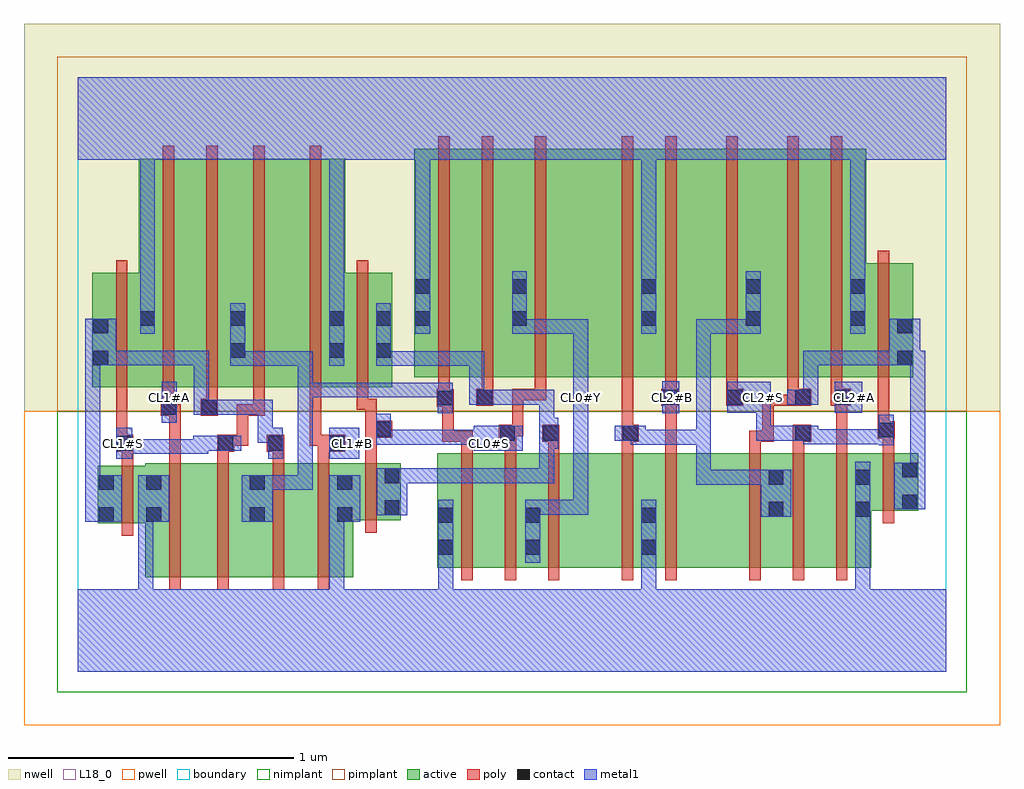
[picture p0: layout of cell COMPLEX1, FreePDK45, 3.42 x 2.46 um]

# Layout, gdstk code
import gdstk
lib = gdstk.Library(unit=1e-6, precision=1e-09)
def R(c, l, rs):  # rectangles x0, y0, x1, y1
    for r in rs: c.add(gdstk.rectangle(r[:2], r[2:], *l))
def A(c, l, x, y, w, h, nx, ny, dx, dy):  # array of equal rectangles
    R(c, l, [(x+i*dx, y+j*dy, x+i*dx+w, y+j*dy+h) for i in range(nx) for j in range(ny)])
active = (1, 0)
pwell = (2, 0)
nwell = (3, 0)
nimplant = (4, 0)
pimplant = (5, 0)
poly = (9, 0)
contact = (10, 0)
metal1 = (11, 0)
L18_0 = (18, 0)
boundary = (235, 0)

complex1 = lib.new_cell('COMPLEX1')
R(complex1, active, [(0.236,0.33,0.416,0.73), (0.236,0.33,0.296,0.692), (0.416,0.33,0.658,0.73), (0.598,0.33,0.778,0.73), (0.778,0.33,0.964,0.73), (0.904,0.33,0.964,0.692), (1.258,0.364,1.438,0.764), (1.258,0.364,1.318,0.764), (1.438,0.364,1.622,0.764), (1.562,0.364,1.742,0.764), (1.562,0.364,1.622,0.578), (1.742,0.364,2.028,0.764), (1.968,0.364,2.294,0.764), (1.968,0.364,2.028,0.578), (2.294,0.364,2.474,0.764), (2.414,0.364,2.474,0.71), (2.414,0.364,2.598,0.764), (2.598,0.364,2.778,0.764), (2.718,0.364,2.778,0.71), (0.598,0.468,0.658,0.692), (0.07,0.52,0.13,0.72), (0.07,0.52,0.296,0.72), (0.904,0.53,1.13,0.73), (1.07,0.53,1.13,0.73), (2.718,0.564,2.942,0.764), (2.882,0.564,2.942,0.764), (0.05,0.996,0.274,1.396), (0.05,0.996,0.11,1.356), (0.214,0.996,0.394,1.796), (0.214,0.996,0.274,1.356), (0.394,0.996,0.59,1.796), (0.53,0.996,0.71,1.796), (0.53,0.996,0.59,1.724), (0.71,0.996,0.936,1.796), (0.876,0.996,1.1,1.396), (0.876,0.996,0.936,1.356), (1.04,0.996,1.1,1.356), (1.178,1.03,1.358,1.83), (1.178,1.03,1.238,1.756), (1.358,1.03,1.576,1.83), (1.516,1.03,1.576,1.724), (1.516,1.03,1.848,1.83), (1.848,1.03,2.028,1.83), (1.968,1.03,2.152,1.83), (2.152,1.03,2.394,1.83), (2.334,1.03,2.58,1.83), (2.334,1.03,2.394,1.724), (2.58,1.03,2.76,1.83), (2.7,1.03,2.924,1.43), (2.7,1.03,2.76,1.378), (2.864,1.03,2.924,1.356), (1.968,1.206,2.028,1.756)])
R(complex1, pwell, [(-0.188,-0.188,3.228,0.912)])
R(complex1, nwell, [(-0.188,0.912,3.228,2.268)])
R(complex1, nimplant, [(-0.072,-0.072,3.112,0.912)])
R(complex1, pimplant, [(-0.072,0.912,3.112,2.152)])
A(complex1, poly, 1.342, 0.32, 0.04, 0.488, 3, 1, 0.152, 0)
A(complex1, poly, 2.35, 0.32, 0.04, 0.488, 3, 1, 0.152, 0)
A(complex1, poly, 1.342, 0.768, 0.04, 0.076, 3, 1, 0.152, 0)
A(complex1, poly, 2.056, 0.95, 0.04, 0.076, 3, 1, 0.214, 0)
A(complex1, poly, 2.056, 0.986, 0.04, 0.888, 3, 1, 0.214, 0)
R(complex1, poly, [(0.32,0.286,0.36,0.774), (0.488,0.286,0.528,0.774), (0.682,0.286,0.722,0.774), (0.84,0.286,0.88,0.774), (1.904,0.32,1.944,0.808), (2.056,0.32,2.096,0.808), (0.154,0.476,0.194,0.764), (1.006,0.486,1.046,0.774), (2.818,0.52,2.858,0.808), (0.154,0.724,0.194,0.81), (0.32,0.734,0.36,0.936), (0.488,0.734,0.528,0.81), (0.682,0.734,0.722,0.81), (0.84,0.734,0.88,0.81), (1.006,0.734,1.046,0.858), (1.904,0.768,1.944,0.844), (2.056,0.768,2.096,0.97), (2.35,0.768,2.39,0.844), (2.502,0.768,2.542,0.844), (2.654,0.768,2.694,0.97), (2.818,0.768,2.858,0.856), (0.134,0.77,0.194,0.83), (0.488,0.77,0.548,0.83), (0.662,0.77,0.722,0.83), (0.84,0.77,0.936,0.83), (0.134,0.79,0.174,0.83), (0.134,0.79,0.174,0.83), (0.134,0.79,0.174,0.992), (0.508,0.79,0.596,0.83), (0.556,0.79,0.596,0.83), (0.556,0.79,0.596,0.936), (0.812,0.79,0.852,0.992), (0.812,0.79,0.88,0.83), (0.84,0.79,0.88,0.83), (1.276,0.804,1.316,0.968), (1.276,0.804,1.382,0.844), (1.474,0.804,1.534,0.864), (1.626,0.804,1.686,0.864), (1.904,0.804,1.964,0.864), (2.35,0.804,2.39,0.844), (2.35,0.804,2.436,0.844), (2.396,0.804,2.436,0.844), (2.396,0.804,2.436,0.97), (2.502,0.804,2.568,0.864), (2.8,0.816,2.86,0.876), (1.006,0.818,1.1,0.878), (1.494,0.824,1.56,0.864), (1.52,0.824,1.56,0.864), (1.52,0.824,1.56,0.99), (1.904,0.824,1.944,0.864), (1.904,0.824,1.944,0.864), (1.904,0.824,1.944,1.026), (2.8,0.836,2.84,1.026), (2.8,0.836,2.84,0.876), (2.8,0.836,2.84,0.876), (1.006,0.838,1.046,0.956), (0.29,0.896,0.35,0.956), (0.31,0.896,0.35,0.936), (0.31,0.896,0.36,0.936), (0.43,0.896,0.49,0.956), (0.556,0.896,0.596,0.936), (0.556,0.896,0.654,0.936), (0.614,0.896,0.654,0.936), (0.614,0.896,0.654,0.992), (0.298,0.916,0.338,0.992), (0.45,0.916,0.49,0.992), (0.976,0.916,1.016,0.992), (0.976,0.916,1.046,0.956), (1.256,0.928,1.316,0.988), (1.394,0.93,1.454,0.99), (2.042,0.93,2.102,0.99), (2.056,0.93,2.096,0.97), (2.056,0.93,2.096,0.97), (2.27,0.93,2.33,0.99), (2.396,0.93,2.436,0.97), (2.396,0.93,2.524,0.97), (2.484,0.93,2.568,0.99), (2.636,0.93,2.706,0.99), (2.654,0.93,2.694,0.97), (2.654,0.93,2.694,0.97), (1.262,0.948,1.302,1.026), (1.414,0.95,1.454,1.026), (1.52,0.95,1.56,0.99), (1.52,0.95,1.64,0.99), (1.6,0.95,1.64,0.99), (1.6,0.95,1.64,0.99), (1.6,0.95,1.64,1.874), (2.636,0.95,2.676,1.026), (0.134,0.952,0.174,1.44), (0.298,0.952,0.338,1.84), (0.45,0.952,0.49,1.84), (0.614,0.952,0.654,1.84), (0.812,0.952,0.852,1.84), (0.976,0.952,1.016,1.44), (1.262,0.986,1.302,1.874), (1.414,0.986,1.454,1.874), (1.904,0.986,1.944,1.874), (2.636,0.986,2.676,1.874), (2.8,0.986,2.84,1.474)])
A(complex1, contact, 1.972, 1.21, 0.052, 0.052, 3, 2, 0.366, 0.112)
R(complex1, contact, [(1.262,0.41,1.314,0.462), (1.566,0.41,1.618,0.462), (1.972,0.41,2.024,0.462), (1.262,0.522,1.314,0.574), (1.566,0.522,1.618,0.574), (1.972,0.522,2.024,0.574), (0.074,0.524,0.126,0.576), (0.24,0.524,0.292,0.576), (0.602,0.524,0.654,0.576), (0.908,0.524,0.96,0.576), (2.418,0.542,2.47,0.594), (2.722,0.542,2.774,0.594), (1.074,0.548,1.126,0.6), (2.886,0.568,2.938,0.62), (0.074,0.636,0.126,0.688), (0.24,0.636,0.292,0.688), (0.602,0.636,0.654,0.688), (0.908,0.636,0.96,0.688), (2.418,0.654,2.47,0.706), (2.722,0.654,2.774,0.706), (1.074,0.66,1.126,0.712), (2.886,0.68,2.938,0.732), (0.138,0.774,0.19,0.826), (0.492,0.774,0.544,0.826), (0.666,0.774,0.718,0.826), (0.88,0.774,0.932,0.826), (1.478,0.808,1.53,0.86), (1.63,0.808,1.682,0.86), (1.908,0.808,1.96,0.86), (2.512,0.808,2.564,0.86), (2.804,0.82,2.856,0.872), (1.044,0.822,1.096,0.874), (0.294,0.9,0.346,0.952), (0.434,0.9,0.486,0.952), (1.26,0.932,1.312,0.984), (1.398,0.934,1.45,0.986), (2.046,0.934,2.098,0.986), (2.274,0.934,2.326,0.986), (2.512,0.934,2.564,0.986), (2.65,0.934,2.702,0.986), (0.054,1.072,0.106,1.124), (2.868,1.072,2.92,1.124), (0.534,1.098,0.586,1.15), (0.88,1.098,0.932,1.15), (1.044,1.098,1.096,1.15), (0.054,1.184,0.106,1.236), (2.868,1.184,2.92,1.236), (0.218,1.21,0.27,1.262), (0.534,1.21,0.586,1.262), (0.88,1.21,0.932,1.262), (1.044,1.21,1.096,1.262), (1.182,1.21,1.234,1.262), (1.52,1.21,1.572,1.262), (1.182,1.322,1.234,1.374), (1.52,1.322,1.572,1.374)])
A(complex1, metal1, 1.972, 1.182, 0.052, 0.22, 3, 1, 0.366, 0)
R(complex1, metal1, [(0,0,3.04,0.288), (0.212,0.236,0.264,0.288), (0.212,0.236,0.264,0.288), (0.212,0.236,0.264,0.576), (0.88,0.236,0.932,0.576), (1.262,0.236,1.314,0.434), (1.972,0.236,2.024,0.434), (2.722,0.236,2.774,0.566), (1.262,0.382,1.314,0.434), (1.262,0.382,1.314,0.434), (1.262,0.382,1.314,0.602), (1.566,0.382,1.618,0.602), (1.972,0.382,2.024,0.434), (1.972,0.382,2.024,0.434), (1.972,0.382,2.024,0.602), (2.722,0.514,2.774,0.566), (2.722,0.514,2.774,0.566), (2.722,0.514,2.774,0.734), (0.026,0.524,0.154,0.688), (0.212,0.524,0.32,0.688), (0.574,0.524,0.682,0.688), (0.88,0.524,0.932,0.576), (0.88,0.524,0.932,0.576), (0.88,0.524,0.988,0.688), (2.39,0.542,2.498,0.706), (1.046,0.548,1.154,0.712), (1.566,0.55,1.786,0.602), (1.734,0.55,1.786,0.602), (1.734,0.55,1.786,0.602), (1.734,0.55,1.786,0.602), (1.734,0.55,1.786,0.602), (1.734,0.55,1.786,0.602), (1.734,0.55,1.786,0.958), (2.858,0.568,2.966,0.732), (0.026,0.636,0.078,0.688), (0.026,0.636,0.078,0.688), (0.026,0.636,0.078,1.124), (0.63,0.636,0.682,0.688), (0.63,0.636,0.682,0.688), (0.63,0.636,0.822,0.688), (0.77,0.636,0.822,0.688), (0.77,0.636,0.822,1.012), (2.164,0.654,2.216,0.706), (2.164,0.654,2.216,0.706), (2.164,0.654,2.216,0.706), (2.164,0.654,2.442,0.706), (2.164,0.654,2.216,0.846), (1.102,0.66,1.264,0.712), (1.212,0.66,1.264,0.712), (1.212,0.66,1.264,0.712), (1.212,0.66,1.264,0.712), (1.212,0.66,1.422,0.712), (1.37,0.66,1.422,0.712), (1.37,0.66,1.422,0.712), (1.37,0.66,1.422,0.712), (1.37,0.66,1.668,0.712), (1.616,0.66,1.668,0.712), (1.616,0.66,1.668,0.832), (2.914,0.68,2.966,1.124), (0.134,0.746,0.19,0.854), (0.666,0.746,0.718,0.854), (0.88,0.746,0.986,0.854), (0.138,0.762,0.3,0.814), (0.248,0.762,0.3,0.814), (0.248,0.762,0.3,0.814), (0.248,0.762,0.3,0.814), (0.248,0.762,0.456,0.814), (0.404,0.762,0.456,0.826), (0.404,0.774,0.516,0.826), (0.464,0.774,0.572,0.826), (1.386,0.774,1.558,0.86), (1.616,0.78,1.668,0.832), (1.616,0.78,1.682,0.832), (1.616,0.78,1.668,0.986), (1.63,0.78,1.682,0.888), (2.804,0.792,2.856,0.9), (1.044,0.794,1.096,0.846), (1.044,0.794,1.096,0.846), (1.044,0.794,1.096,0.902), (1.044,0.794,1.312,0.846), (1.26,0.794,1.312,0.846), (1.26,0.794,1.312,0.846), (1.26,0.794,1.312,0.846), (1.26,0.794,1.438,0.846), (1.386,0.794,1.438,0.846), (1.386,0.794,1.438,0.846), (1.936,0.794,2.106,0.846), (1.936,0.794,1.988,0.86), (2.054,0.794,2.106,0.846), (2.054,0.794,2.216,0.846), (2.164,0.794,2.216,0.846), (2.164,0.794,2.216,1.234), (2.54,0.796,2.702,0.848), (2.54,0.796,2.592,0.86), (2.65,0.796,2.702,0.848), (2.65,0.796,2.702,0.848), (2.65,0.796,2.702,0.848), (2.65,0.796,2.856,0.848), (0.63,0.802,0.682,0.854), (0.63,0.802,0.682,0.952), (0.63,0.802,0.718,0.854), (1.88,0.808,1.988,0.86), (1.936,0.808,1.988,0.86), (2.374,0.808,2.426,0.86), (2.374,0.808,2.536,0.86), (2.374,0.808,2.426,0.958), (2.484,0.808,2.592,0.86), (2.54,0.808,2.592,0.86), (0.294,0.872,0.346,1.014), (0.406,0.9,0.458,0.952), (0.406,0.9,0.458,0.952), (0.406,0.9,0.514,0.952), (0.406,0.9,0.458,1.124), (0.462,0.9,0.682,0.952), (0.63,0.9,0.682,0.952), (1.26,0.904,1.312,1.012), (2.046,0.904,2.106,1.016), (1.734,0.906,1.786,1.014), (2.274,0.906,2.426,1.014), (2.374,0.906,2.426,0.958), (2.374,0.906,2.426,0.958), (2.65,0.906,2.746,1.014), (1.37,0.934,1.422,0.986), (1.37,0.934,1.422,0.986), (1.37,0.934,1.478,0.986), (1.37,0.934,1.422,1.122), (1.426,0.934,1.668,0.986), (1.616,0.934,1.668,0.986), (2.484,0.934,2.592,0.986), (2.54,0.934,2.592,0.986), (2.54,0.934,2.592,0.986), (2.54,0.934,2.592,1.124), (0.77,0.96,0.822,1.012), (0.77,0.96,0.822,1.012), (0.77,0.96,0.822,1.012), (0.77,0.96,0.986,1.012), (0.77,0.96,0.822,1.122), (0.934,0.96,0.986,1.012), (0.934,0.96,0.986,1.012), (0.934,0.96,0.986,1.012), (0.934,0.96,1.124,1.012), (1.072,0.96,1.124,1.012), (1.072,0.96,1.124,1.012), (1.072,0.96,1.124,1.012), (1.072,0.96,1.312,1.012), (1.26,0.96,1.312,1.012), (1.26,0.96,1.312,1.012), (1.734,0.962,1.786,1.014), (1.734,0.962,1.786,1.014), (1.734,0.962,1.786,1.234), (0.534,1.07,0.586,1.29), (0.534,1.07,0.822,1.122), (0.77,1.07,0.822,1.122), (0.77,1.07,0.822,1.122), (0.77,1.07,0.822,1.122), (0.88,1.07,0.932,1.29), (1.044,1.07,1.096,1.29), (1.044,1.07,1.264,1.122), (1.212,1.07,1.264,1.122), (1.212,1.07,1.264,1.122), (1.212,1.07,1.264,1.122), (1.212,1.07,1.422,1.122), (1.37,1.07,1.422,1.122), (0.026,1.072,0.078,1.124), (0.026,1.072,0.078,1.124), (0.026,1.072,0.134,1.236), (0.082,1.072,0.134,1.124), (0.082,1.072,0.134,1.124), (0.082,1.072,0.3,1.124), (0.248,1.072,0.3,1.124), (0.248,1.072,0.3,1.124), (0.248,1.072,0.3,1.124), (0.248,1.072,0.458,1.124), (0.406,1.072,0.458,1.124), (2.54,1.072,2.592,1.124), (2.54,1.072,2.702,1.124), (2.65,1.072,2.702,1.124), (2.65,1.072,2.702,1.124), (2.65,1.072,2.702,1.124), (2.65,1.072,2.892,1.124), (2.84,1.072,2.892,1.124), (2.84,1.072,2.892,1.124), (2.84,1.072,2.948,1.236), (2.896,1.072,2.948,1.124), (2.896,1.072,2.966,1.124), (2.914,1.072,2.966,1.124), (2.914,1.072,2.966,1.124), (0.218,1.182,0.27,1.29), (1.182,1.182,1.234,1.402), (1.52,1.182,1.572,1.402), (1.52,1.182,1.786,1.234), (1.734,1.182,1.786,1.234), (1.734,1.182,1.786,1.234), (1.734,1.182,1.786,1.234), (2.164,1.182,2.216,1.234), (2.164,1.182,2.216,1.234), (2.164,1.182,2.216,1.234), (2.164,1.182,2.39,1.234), (2.338,1.182,2.39,1.234), (2.338,1.182,2.39,1.234), (0.218,1.238,0.27,1.844), (0.88,1.238,0.932,1.844), (1.182,1.35,1.234,1.844), (1.972,1.35,2.024,1.844), (2.704,1.35,2.756,1.844), (0,1.792,3.04,2.08)])
A(complex1, L18_0, 1.734, 0.934, 0.052, 0.052, 4, 1, 0.32, 0)
R(complex1, L18_0, [(0,0,3.04,0.288), (0.212,0.236,0.264,0.288), (0.212,0.236,0.264,0.288), (0.212,0.236,0.264,0.576), (0.88,0.236,0.932,0.576), (1.262,0.236,1.314,0.434), (1.972,0.236,2.024,0.434), (2.722,0.236,2.774,0.566), (1.262,0.382,1.314,0.434), (1.262,0.382,1.314,0.434), (1.262,0.382,1.314,0.602), (1.566,0.382,1.618,0.602), (1.972,0.382,2.024,0.434), (1.972,0.382,2.024,0.434), (1.972,0.382,2.024,0.602), (2.722,0.514,2.774,0.566), (2.722,0.514,2.774,0.566), (2.722,0.514,2.774,0.734), (0.212,0.524,0.32,0.688), (0.88,0.524,0.932,0.576), (0.88,0.524,0.932,0.576), (0.88,0.524,0.988,0.688), (1.566,0.55,1.786,0.602), (1.734,0.55,1.786,0.602), (1.734,0.55,1.786,0.602), (1.734,0.55,1.786,0.602), (1.734,0.55,1.786,0.602), (1.734,0.55,1.786,0.602), (1.734,0.55,1.786,0.958), (0.134,0.746,0.19,0.854), (0.88,0.746,0.986,0.854), (0.138,0.762,0.3,0.814), (0.248,0.762,0.3,0.814), (0.248,0.762,0.3,0.814), (0.248,0.762,0.3,0.814), (0.248,0.762,0.456,0.814), (0.404,0.762,0.456,0.826), (0.134,0.774,0.186,0.826), (0.404,0.774,0.516,0.826), (0.464,0.774,0.572,0.826), (0.934,0.774,0.986,0.826), (1.386,0.774,1.558,0.86), (1.414,0.774,1.466,0.826), (2.804,0.792,2.856,0.9), (1.044,0.794,1.096,0.846), (1.044,0.794,1.096,0.846), (1.044,0.794,1.096,0.902), (1.044,0.794,1.312,0.846), (1.26,0.794,1.312,0.846), (1.26,0.794,1.312,0.846), (1.26,0.794,1.312,0.846), (1.26,0.794,1.438,0.846), (1.386,0.794,1.438,0.846), (1.386,0.794,1.438,0.846), (2.54,0.796,2.702,0.848), (2.54,0.796,2.592,0.86), (2.65,0.796,2.702,0.848), (2.65,0.796,2.702,0.848), (2.65,0.796,2.702,0.848), (2.65,0.796,2.856,0.848), (2.374,0.808,2.426,0.86), (2.374,0.808,2.536,0.86), (2.374,0.808,2.426,0.958), (2.484,0.808,2.592,0.86), (2.54,0.808,2.592,0.86), (0.294,0.872,0.346,1.014), (2.046,0.904,2.106,1.016), (1.734,0.906,1.786,1.014), (2.274,0.906,2.426,1.014), (2.374,0.906,2.426,0.958), (2.374,0.906,2.426,0.958), (2.65,0.906,2.746,1.014), (0.294,0.934,0.346,0.986), (1.734,0.962,1.786,1.014), (1.734,0.962,1.786,1.014), (1.734,0.962,1.786,1.234), (0.88,1.07,0.932,1.29), (0.218,1.182,0.27,1.29), (1.182,1.182,1.234,1.402), (1.52,1.182,1.572,1.402), (1.52,1.182,1.786,1.234), (1.734,1.182,1.786,1.234), (1.734,1.182,1.786,1.234), (1.734,1.182,1.786,1.234), (1.972,1.182,2.024,1.402), (2.704,1.182,2.756,1.402), (0.218,1.238,0.27,1.844), (0.88,1.238,0.932,1.844), (1.182,1.35,1.234,1.844), (1.972,1.35,2.024,1.844), (2.704,1.35,2.756,1.844), (0,1.792,3.04,2.08)])
R(complex1, boundary, [(0,0,3.04,2.08)])
complex1.add(gdstk.Label('CL0#S', (1.44,0.8), layer=11, texttype=0))
complex1.add(gdstk.Label('CL0#Y', (1.76,0.96), layer=11, texttype=0))
complex1.add(gdstk.Label('CL1#A', (0.32,0.96), layer=11, texttype=0))
complex1.add(gdstk.Label('CL1#B', (0.96,0.8), layer=11, texttype=0))
complex1.add(gdstk.Label('CL1#S', (0.16,0.8), layer=11, texttype=0))
complex1.add(gdstk.Label('CL2#A', (2.72,0.96), layer=11, texttype=0))
complex1.add(gdstk.Label('CL2#B', (2.08,0.96), layer=11, texttype=0))
complex1.add(gdstk.Label('CL2#S', (2.4,0.96), layer=11, texttype=0))

lib.write_gds('COMPLEX1.gds')
